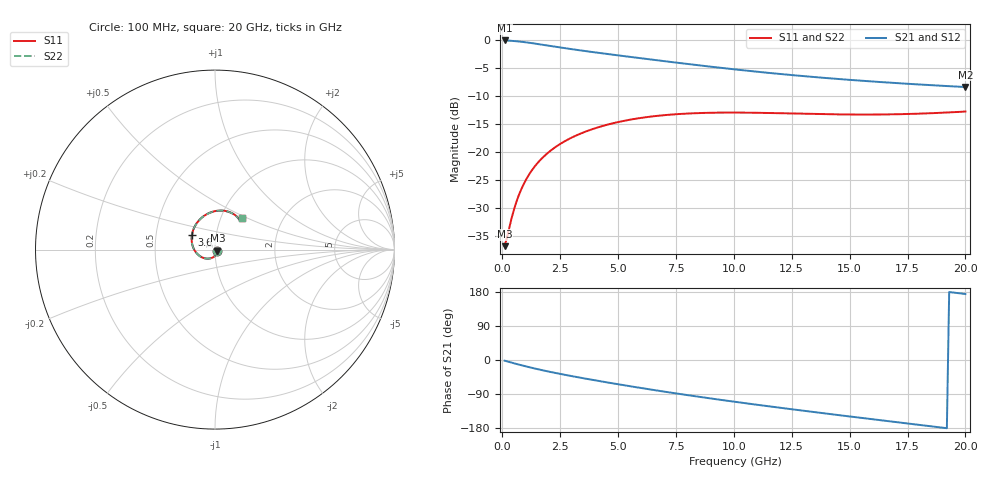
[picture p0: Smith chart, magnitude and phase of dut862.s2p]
! Touchstone file exported from HFSS 2024.1.0
!  File:  C:/UserFiles/LocalFiles/RDL_TSV_Batchsim/temp_RDL_TSV_862_1779925664.aedt
!  Generated:  08:01:39 AM May 28, 2026
!  Design:  RDL_TSV
!  Project:  temp_RDL_TSV_862_1779925664
!  Setup:  Setup1
!  Solution:  Sweep
! Variables:
!  dtsv = 12.87um
!  hbump = 3um
!  htsv = 89.07um
!  ldown = 340.8um
!  lrdl = 331.13um
!  p = 40
!  p1 = 41.98um
!  rhole = 10um
!  subl = 2346.92um
!  t = 450um
!  tdown = 2.9um
!  trdl = 2.81um
!  viad = 10um
!  wdown = 21.56um
!  wrdl = 23.96um
!  xbump = 18um
# GHz S MA R 50.000000
! Terminal data exported
! Port[1] = TM1_1_T1
! Port[2] = TM1_4_T1
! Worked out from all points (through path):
!   200 points, 100 MHz to 20 GHz, reference 50 ohm
!   highest |S21| = -0.12 dB at 100 MHz (marker M1); lowest = -8.4 dB at 20 GHz (marker M2)
!   group delay of S21, straight-line fit = 24.4 ps
!   lowest |S11| = -36.8 dB at 100 MHz (marker M3), VSWR 1.03, Z = 51.3 - j0.608 ohm
!   |S11| at or under -10 dB: start of sweep to end of sweep
!   |S22| runs from -36.8 to -12.8 dB; largest |S21 - S12| = 1.4e-14
!   S11 on the Smith chart (normalised r, x): 100 MHz: 1.03, -0.01; 3.6 GHz: 0.76, +0.13; 20 GHz: 1.25, +0.46
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0.1  0.01443 -24.2  0.986 -1.8  0.986 -1.8  0.01443 -24.2
! Gamma 0 0 0 0
! Port Impedance 50 0 50 0
0.5  0.03035 -82.5  0.9749 -8.6  0.9749 -8.6  0.03036 -82.5
0.7  0.04037 -98.8  0.9662 -11.8  0.9662 -11.8  0.04038 -98.8
1  0.05532 -118.1  0.9502 -16.6  0.9502 -16.6  0.05532 -118.1
1.3  0.06956 -134.0  0.9318 -21.0  0.9318 -21.0  0.06955 -134.0
1.7  0.08713 -152.1  0.9055 -26.6  0.9055 -26.6  0.08712 -152.1
2.2  0.1069 -171.3  0.8726 -33.1  0.8726 -33.1  0.1069 -171.3
2.8  0.1278 169.3  0.8358 -40.3  0.8358 -40.3  0.1278 169.3
3.5  0.149 150.5  0.7972 -48.1  0.7972 -48.1  0.1489 150.5
3.6  0.1518 148.1  0.792 -49.2  0.792 -49.2  0.1517 148.1
4.3  0.1696 132.8  0.7577 -56.7  0.7577 -56.7  0.1694 132.8
5.1  0.1864 118.2  0.7214 -65.0  0.7214 -65.0  0.1862 118.2
5.9  0.1997 105.9  0.6876 -73.0  0.6876 -73.0  0.1995 105.9
6.8  0.2107 94.3  0.652 -81.7  0.652 -81.7  0.2105 94.3
8.4  0.2216 78.3  0.5947 -96.3  0.5947 -96.3  0.2212 78.3
10.1  0.2242 66.3  0.5427 -110.8  0.5427 -110.8  0.2238 66.3
11.7  0.2219 58.6  0.502 -123.7  0.502 -123.7  0.2215 58.7
13.4  0.218 53.5  0.4664 -136.9  0.4664 -136.9  0.2176 53.6
15  0.2155 51.0  0.4389 -149.0  0.4389 -149.0  0.2151 51.1
16.7  0.216 49.9  0.4149 -161.6  0.4149 -161.6  0.2157 50.1
18.3  0.2204 49.7  0.3959 -173.4  0.3959 -173.4  0.2201 49.9
20  0.229 49.5  0.3788 174.2  0.3788 174.2  0.2289 49.7
